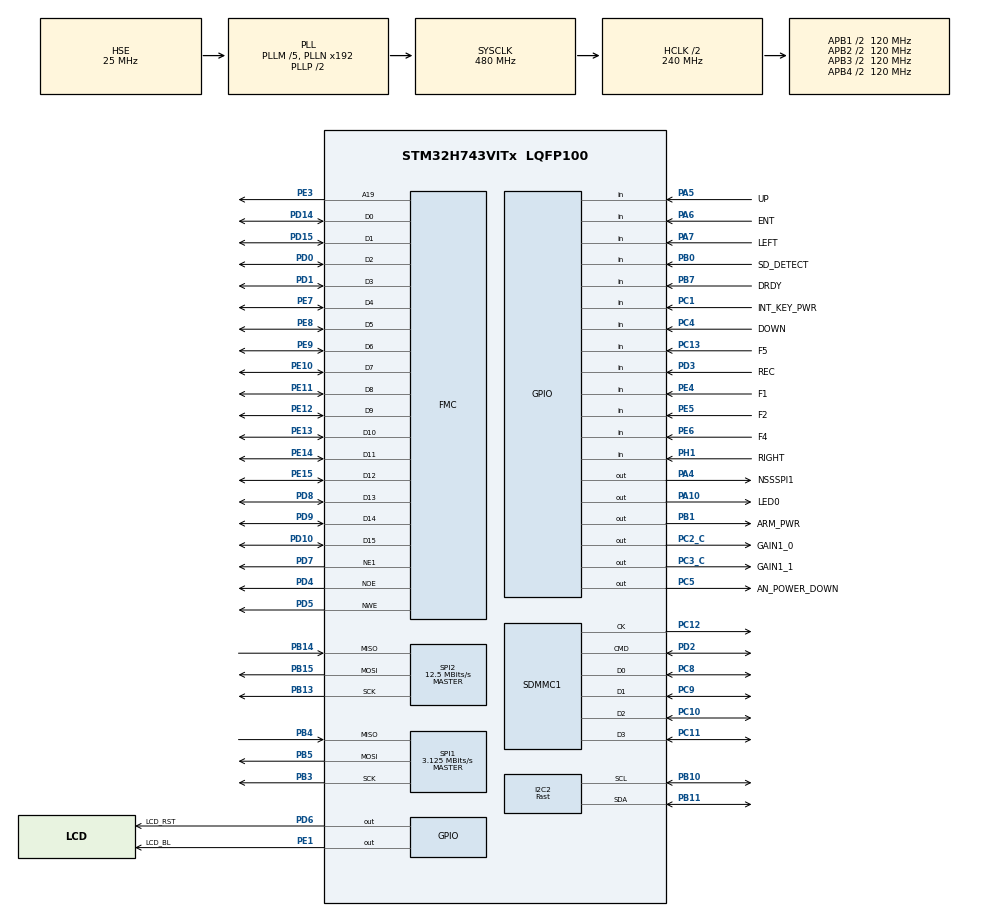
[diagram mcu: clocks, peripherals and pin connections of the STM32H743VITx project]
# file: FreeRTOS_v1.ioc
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CORTEX_M7.AccessPermission-Cortex_Memory_Protection_Unit_Region1_Settings=MPU_REGION_FULL_ACCESS
CORTEX_M7.AccessPermission-Cortex_Memory_Protection_Unit_Region2_Settings=MPU_REGION_FULL_ACCESS
CORTEX_M7.AccessPermission-Cortex_Memory_Protection_Unit_Region3_Settings=MPU_REGION_FULL_ACCESS
CORTEX_M7.AccessPermission-Cortex_Memory_Protection_Unit_Region4_Settings=MPU_REGION_FULL_ACCESS
CORTEX_M7.BaseAddress-Cortex_Memory_Protection_Unit_Region1_Settings=0x60000000
CORTEX_M7.BaseAddress-Cortex_Memory_Protection_Unit_Region2_Settings=0x60100000
CORTEX_M7.BaseAddress-Cortex_Memory_Protection_Unit_Region3_Settings=0x24000000
CORTEX_M7.BaseAddress-Cortex_Memory_Protection_Unit_Region4_Settings=0x38800000
CORTEX_M7.CPU_ICache=Enabled
CORTEX_M7.DisableExec-Cortex_Memory_Protection_Unit_Region1_Settings=MPU_INSTRUCTION_ACCESS_DISABLE
CORTEX_M7.DisableExec-Cortex_Memory_Protection_Unit_Region2_Settings=MPU_INSTRUCTION_ACCESS_DISABLE
CORTEX_M7.Enable-Cortex_Memory_Protection_Unit_Region0_Settings=__NULL
CORTEX_M7.Enable-Cortex_Memory_Protection_Unit_Region1_Settings=MPU_REGION_ENABLE
CORTEX_M7.Enable-Cortex_Memory_Protection_Unit_Region2_Settings=MPU_REGION_ENABLE
CORTEX_M7.Enable-Cortex_Memory_Protection_Unit_Region3_Settings=MPU_REGION_ENABLE
CORTEX_M7.Enable-Cortex_Memory_Protection_Unit_Region4_Settings=MPU_REGION_ENABLE
CORTEX_M7.IsShareable-Cortex_Memory_Protection_Unit_Region1_Settings=MPU_ACCESS_SHAREABLE
CORTEX_M7.IsShareable-Cortex_Memory_Protection_Unit_Region2_Settings=MPU_ACCESS_SHAREABLE
CORTEX_M7.MPU_Control=MPU_PRIVILEGED_DEFAULT
CORTEX_M7.Size-Cortex_Memory_Protection_Unit_Region3_Settings=MPU_REGION_SIZE_512KB
CORTEX_M7.Size-Cortex_Memory_Protection_Unit_Region4_Settings=MPU_REGION_SIZE_4KB
CORTEX_M7.TypeExtField-Cortex_Memory_Protection_Unit_Region3_Settings=MPU_TEX_LEVEL1
CORTEX_M7.TypeExtField-Cortex_Memory_Protection_Unit_Region4_Settings=MPU_TEX_LEVEL1
Dma.I2C2_RX.2.Direction=DMA_PERIPH_TO_MEMORY
Dma.I2C2_RX.2.EventEnable=DISABLE
Dma.I2C2_RX.2.FIFOMode=DMA_FIFOMODE_DISABLE
Dma.I2C2_RX.2.Instance=DMA1_Stream2
Dma.I2C2_RX.2.MemDataAlignment=DMA_MDATAALIGN_BYTE
Dma.I2C2_RX.2.MemInc=DMA_MINC_ENABLE
Dma.I2C2_RX.2.Mode=DMA_NORMAL
Dma.I2C2_RX.2.PeriphDataAlignment=DMA_PDATAALIGN_BYTE
Dma.I2C2_RX.2.PeriphInc=DMA_PINC_DISABLE
Dma.I2C2_RX.2.Polarity=HAL_DMAMUX_REQ_GEN_RISING
Dma.I2C2_RX.2.Priority=DMA_PRIORITY_LOW
Dma.I2C2_RX.2.RequestNumber=1
Dma.I2C2_RX.2.SignalID=NONE
Dma.I2C2_RX.2.SyncEnable=DISABLE
Dma.I2C2_RX.2.SyncPolarity=HAL_DMAMUX_SYNC_NO_EVENT
Dma.I2C2_RX.2.SyncRequestNumber=1
Dma.I2C2_RX.2.SyncSignalID=NONE
Dma.Request0=SPI2_TX
Dma.Request1=SPI2_RX
Dma.Request2=I2C2_RX
Dma.SPI2_RX.1.Direction=DMA_PERIPH_TO_MEMORY
Dma.SPI2_RX.1.EventEnable=ENABLE
Dma.SPI2_RX.1.FIFOMode=DMA_FIFOMODE_DISABLE
Dma.SPI2_RX.1.Instance=DMA1_Stream1
Dma.SPI2_RX.1.MemDataAlignment=DMA_MDATAALIGN_BYTE
Dma.SPI2_RX.1.MemInc=DMA_MINC_ENABLE
Dma.SPI2_RX.1.Mode=DMA_CIRCULAR
Dma.SPI2_RX.1.PeriphDataAlignment=DMA_PDATAALIGN_BYTE
Dma.SPI2_RX.1.PeriphInc=DMA_PINC_DISABLE
Dma.SPI2_RX.1.Polarity=HAL_DMAMUX_REQ_GEN_RISING
Dma.SPI2_RX.1.Priority=DMA_PRIORITY_HIGH
Dma.SPI2_RX.1.RequestNumber=1
Dma.SPI2_RX.1.SignalID=NONE
Dma.SPI2_RX.1.SyncEnable=ENABLE
Dma.SPI2_RX.1.SyncPolarity=HAL_DMAMUX_SYNC_FALLING
Dma.SPI2_RX.1.SyncRequestNumber=3
Dma.SPI2_RX.1.SyncSignalID=HAL_DMAMUX1_SYNC_LPTIM1_OUT
Dma.SPI2_TX.0.Direction=DMA_MEMORY_TO_PERIPH
Dma.SPI2_TX.0.EventEnable=ENABLE
Dma.SPI2_TX.0.FIFOMode=DMA_FIFOMODE_DISABLE
Dma.SPI2_TX.0.Instance=DMA1_Stream0
Dma.SPI2_TX.0.MemDataAlignment=DMA_MDATAALIGN_BYTE
Dma.SPI2_TX.0.MemInc=DMA_MINC_DISABLE
Dma.SPI2_TX.0.Mode=DMA_CIRCULAR
Dma.SPI2_TX.0.PeriphDataAlignment=DMA_PDATAALIGN_BYTE
Dma.SPI2_TX.0.PeriphInc=DMA_PINC_DISABLE
Dma.SPI2_TX.0.Polarity=HAL_DMAMUX_REQ_GEN_RISING
Dma.SPI2_TX.0.Priority=DMA_PRIORITY_MEDIUM
Dma.SPI2_TX.0.RequestNumber=1
Dma.SPI2_TX.0.SignalID=NONE
Dma.SPI2_TX.0.SyncEnable=ENABLE
Dma.SPI2_TX.0.SyncPolarity=HAL_DMAMUX_SYNC_FALLING
Dma.SPI2_TX.0.SyncRequestNumber=3
Dma.SPI2_TX.0.SyncSignalID=HAL_DMAMUX1_SYNC_LPTIM1_OUT
FATFS.BSP.number=1
FATFS._FS_LOCK=3
FATFS._MAX_LFN=32
FATFS._USE_LFN=2
FATFS0.BSP.STBoard=false
FATFS0.BSP.api=Unknown
FATFS0.BSP.instance=PB0
FATFS0.BSP.ip=GPIO
FATFS0.BSP.mode=Input
FATFS0.BSP.name=Detect_SDIO
FATFS0.BSP.solution=PB0
FMC.AddressSetupTime1=5
FMC.BusTurnAroundDuration1=5
FMC.DataSetupTime1=15
FREERTOS.BinarySemaphores01=fmc_write_notification_semaphore,Dynamic,NULL,Depleted;ad7124_notification_semaphore,Dynamic,NULL,Depleted;ads127l11_notification_semaphore,Dynamic,NULL,Depleted;battery_i2c_read_notification_semaphore,Dynamic,NULL,Depleted
FREERTOS.Queues01=queue_pointer_event,10,win_pointer_event_t,0,Dynamic,NULL,NULL;ConnectionEvent,10,uint16_t,0,Dynamic,NULL,NULL
FREERTOS.Tasks01=defaultTask,24,128,StartDefaultTask,Default,NULL,Dynamic,NULL,NULL;Task_lcd,8,2048,StartTask02,As external,NULL,Dynamic,NULL,NULL;Task_key,24,128,StartTask03,As external,NULL,Dynamic,NULL,NULL;Task_dsp,48,2048,StartTask01,As external,NULL,Dynamic,NULL,NULL
FREERTOS.configCHECK_FOR_STACK_OVERFLOW=1
FREERTOS.configTOTAL_HEAP_SIZE=24576
FREERTOS.configUSE_NEWLIB_REENTRANT=1
I2C2.I2C_Fall_Time=20
I2C2.I2C_Rise_Time=50
I2C2.I2C_Speed_Mode=I2C_Fast
I2C2.OwnAddress=0x0
I2C2.Timing=0x0090216E
LPTIM1.ClockPrescaler=LPTIM_PRESCALER_DIV2
LPTIM1.UpdateMode=LPTIM_UPDATE_ENDOFPERIOD
Mcu.Family=STM32H7
Mcu.Name=STM32H743VITx
Mcu.Package=LQFP100
Mdma.MDMA_Channel0.Request0=SW
Mdma.MDMA_Channel0.RequestsNb=1
Mdma.MDMA_Channel0.SW.0.BlockCount=0
Mdma.MDMA_Channel0.SW.0.BlockDataLength=0
Mdma.MDMA_Channel0.SW.0.BufferTransferLength=128
Mdma.MDMA_Channel0.SW.0.CircularMode=MDMA_LINEAR_LIST
Mdma.MDMA_Channel0.SW.0.DataAlignment=MDMA_DATAALIGN_PACKENABLE
Mdma.MDMA_Channel0.SW.0.DestBlockAddressOffset=0
Mdma.MDMA_Channel0.SW.0.DestBurst=MDMA_DEST_BURST_SINGLE
Mdma.MDMA_Channel0.SW.0.DestDataSize=MDMA_DEST_DATASIZE_HALFWORD
Mdma.MDMA_Channel0.SW.0.DestinationInc=MDMA_DEST_INC_HALFWORD
Mdma.MDMA_Channel0.SW.0.DstAddress=0
Mdma.MDMA_Channel0.SW.0.Endianness=MDMA_LITTLE_ENDIANNESS_PRESERVE
Mdma.MDMA_Channel0.SW.0.Instance=MDMA_Channel0
Mdma.MDMA_Channel0.SW.0.MaskAddress=0
Mdma.MDMA_Channel0.SW.0.MaskData=0
Mdma.MDMA_Channel0.SW.0.Priority=MDMA_PRIORITY_LOW
Mdma.MDMA_Channel0.SW.0.Rank=First
Mdma.MDMA_Channel0.SW.0.SourceBlockAddressOffset=0
Mdma.MDMA_Channel0.SW.0.SourceBurst=MDMA_SOURCE_BURST_SINGLE
Mdma.MDMA_Channel0.SW.0.SourceDataSize=MDMA_SRC_DATASIZE_HALFWORD
Mdma.MDMA_Channel0.SW.0.SourceInc=MDMA_SRC_INC_HALFWORD
Mdma.MDMA_Channel0.SW.0.SrcAddress=0
Mdma.MDMA_Channel0.SW.0.TransferTriggerMode=MDMA_REPEAT_BLOCK_TRANSFER
Mdma.MDMA_Channel1.Request0=SW
Mdma.MDMA_Channel1.RequestsNb=1
Mdma.MDMA_Channel1.SW.0.BlockCount=0
Mdma.MDMA_Channel1.SW.0.BlockDataLength=0
Mdma.MDMA_Channel1.SW.0.BufferTransferLength=128
Mdma.MDMA_Channel1.SW.0.CircularMode=MDMA_LINEAR_LIST
Mdma.MDMA_Channel1.SW.0.DataAlignment=MDMA_DATAALIGN_PACKENABLE
Mdma.MDMA_Channel1.SW.0.DestBlockAddressOffset=0
Mdma.MDMA_Channel1.SW.0.DestBurst=MDMA_DEST_BURST_SINGLE
Mdma.MDMA_Channel1.SW.0.DestDataSize=MDMA_DEST_DATASIZE_HALFWORD
Mdma.MDMA_Channel1.SW.0.DestinationInc=MDMA_DEST_INC_HALFWORD
Mdma.MDMA_Channel1.SW.0.DstAddress=0
Mdma.MDMA_Channel1.SW.0.Endianness=MDMA_LITTLE_ENDIANNESS_PRESERVE
Mdma.MDMA_Channel1.SW.0.Instance=MDMA_Channel1
Mdma.MDMA_Channel1.SW.0.MaskAddress=0
Mdma.MDMA_Channel1.SW.0.MaskData=0
Mdma.MDMA_Channel1.SW.0.Priority=MDMA_PRIORITY_LOW
Mdma.MDMA_Channel1.SW.0.Rank=First
Mdma.MDMA_Channel1.SW.0.SourceBlockAddressOffset=0
Mdma.MDMA_Channel1.SW.0.SourceBurst=MDMA_SOURCE_BURST_SINGLE
Mdma.MDMA_Channel1.SW.0.SourceDataSize=MDMA_SRC_DATASIZE_HALFWORD
Mdma.MDMA_Channel1.SW.0.SourceInc=MDMA_SRC_INC_DISABLE
Mdma.MDMA_Channel1.SW.0.SrcAddress=0
Mdma.MDMA_Channel1.SW.0.TransferTriggerMode=MDMA_REPEAT_BLOCK_TRANSFER
Mdma.RequestSet0=MDMA_Channel0
Mdma.RequestSet1=MDMA_Channel1
Mdma.RequestSetsNb=2
NVIC.DMA1_Stream0_IRQn=true\:8\:0\:true\:false\:true\:true\:false\:true\:true
NVIC.DMA1_Stream1_IRQn=true\:5\:0\:false\:false\:true\:true\:false\:true\:true
NVIC.DMA1_Stream2_IRQn=true\:9\:0\:true\:false\:true\:true\:false\:true\:true
NVIC.DMAMUX1_OVR_IRQn=true\:8\:0\:true\:false\:true\:false\:false\:true\:true
NVIC.I2C2_ER_IRQn=true\:10\:0\:true\:false\:true\:true\:true\:true\:true
NVIC.I2C2_EV_IRQn=true\:9\:0\:true\:false\:true\:true\:true\:true\:true
NVIC.MDMA_IRQn=true\:7\:0\:true\:false\:true\:true\:false\:true\:true
NVIC.PriorityGroup=NVIC_PRIORITYGROUP_4
NVIC.SDMMC1_IRQn=true\:14\:0\:true\:false\:true\:true\:true\:true\:true
NVIC.SPI2_IRQn=true\:5\:0\:false\:false\:true\:true\:false\:true\:true
NVIC.TIM6_DAC_IRQn=true\:15\:0\:false\:false\:true\:false\:false\:true\:true
NVIC.TimeBase=TIM6_DAC_IRQn
NVIC.TimeBaseIP=TIM6
PA10.GPIO_Label=LED0
PA10.PinState=GPIO_PIN_SET
PA10.Signal=GPIO_Output
PA13\ (JTMS/SWDIO).Mode=Serial_Wire
PA13\ (JTMS/SWDIO).Signal=DEBUG_JTMS-SWDIO
PA14\ (JTCK/SWCLK).Mode=Serial_Wire
PA14\ (JTCK/SWCLK).Signal=DEBUG_JTCK-SWCLK
PA4.GPIO_Label=NSSSPI1
PA4.PinState=GPIO_PIN_SET
PA4.Signal=GPIO_Output
PA5.GPIO_Label=UP
PA5.GPIO_PuPd=GPIO_PULLUP
PA5.Signal=GPIO_Input
PA6.GPIO_Label=ENT
PA6.GPIO_PuPd=GPIO_PULLUP
PA6.Signal=GPIO_Input
PA7.GPIO_Label=LEFT
PA7.GPIO_PuPd=GPIO_PULLUP
PA7.Signal=GPIO_Input
PB0.GPIO_Label=SD_DETECT
PB0.Signal=GPIO_Input
PB1.GPIO_Label=ARM_PWR
PB1.Signal=GPIO_Output
PB10.GPIO_Pu=GPIO_PULLUP
PB10.GPIO_Speed=GPIO_SPEED_FREQ_HIGH
PB10.Mode=I2C
PB10.Signal=I2C2_SCL
PB11.GPIO_Pu=GPIO_PULLUP
PB11.GPIO_Speed=GPIO_SPEED_FREQ_HIGH
PB11.Mode=I2C
PB11.Signal=I2C2_SDA
PB13.GPIO_Speed=GPIO_SPEED_FREQ_HIGH
PB13.Mode=Full_Duplex_Master
PB13.Signal=SPI2_SCK
PB14.GPIO_Speed=GPIO_SPEED_FREQ_HIGH
PB14.Mode=Full_Duplex_Master
PB14.Signal=SPI2_MISO
PB15.GPIO_Speed=GPIO_SPEED_FREQ_HIGH
PB15.Mode=Full_Duplex_Master
PB15.Signal=SPI2_MOSI
PB3\ (JTDO/TRACESWO).GPIO_Speed=GPIO_SPEED_FREQ_MEDIUM
PB3\ (JTDO/TRACESWO).Mode=Full_Duplex_Master
PB3\ (JTDO/TRACESWO).Signal=SPI1_SCK
PB4\ (NJTRST).GPIO_Speed=GPIO_SPEED_FREQ_MEDIUM
PB4\ (NJTRST).Mode=Full_Duplex_Master
PB4\ (NJTRST).Signal=SPI1_MISO
PB5.GPIO_Speed=GPIO_SPEED_FREQ_MEDIUM
PB5.Mode=Full_Duplex_Master
PB5.Signal=SPI1_MOSI
PB7.GPIO_Label=DRDY
PB7.Signal=GPIO_Input
PC1.GPIO_Label=INT_KEY_PWR
PC1.Signal=GPIO_Input
PC10.Mode=SD_4_bits_Wide_bus
PC10.Signal=SDMMC1_D2
PC11.Mode=SD_4_bits_Wide_bus
PC11.Signal=SDMMC1_D3
PC12.Mode=SD_4_bits_Wide_bus
PC12.Signal=SDMMC1_CK
PC13.GPIO_Label=F5
PC13.GPIO_PuPd=GPIO_PULLUP
PC13.Signal=GPIO_Input
PC14-OSC32_IN\ (OSC32_IN).Mode=LSE-External-Oscillator
PC14-OSC32_IN\ (OSC32_IN).Signal=RCC_OSC32_IN
PC15-OSC32_OUT\ (OSC32_OUT).Mode=LSE-External-Oscillator
PC15-OSC32_OUT\ (OSC32_OUT).Signal=RCC_OSC32_OUT
PC2_C.GPIO_Label=GAIN1_0
PC2_C.Signal=GPIO_Output
PC3_C.GPIO_Label=GAIN1_1
PC3_C.Signal=GPIO_Output
PC4.GPIO_Label=DOWN
PC4.GPIO_PuPd=GPIO_PULLUP
PC4.Signal=GPIO_Input
PC5.GPIO_Label=AN_POWER_DOWN
PC5.Signal=GPIO_Output
PC8.Mode=SD_4_bits_Wide_bus
PC8.Signal=SDMMC1_D0
PC9.Mode=SD_4_bits_Wide_bus
PC9.Signal=SDMMC1_D1
PD0.Signal=FMC_D2_DA2
PD1.Signal=FMC_D3_DA3
PD10.Signal=FMC_D15_DA15
PD14.Signal=FMC_D0_DA0
PD15.Signal=FMC_D1_DA1
PD2.Mode=SD_4_bits_Wide_bus
PD2.Signal=SDMMC1_CMD
PD3.GPIO_Label=REC
PD3.GPIO_PuPd=GPIO_PULLUP
PD3.Signal=GPIO_Input
PD4.Signal=FMC_NOE
PD5.Signal=FMC_NWE
PD6.GPIO_Label=LCD_RST
PD6.GPIO_ModeDefaultOutputPP=GPIO_MODE_OUTPUT_OD
PD6.GPIO_PuPd=GPIO_PULLUP
PD6.PinState=GPIO_PIN_SET
PD6.Signal=GPIO_Output
PD7.Mode=NorPsramChipSelect1_1
PD7.Signal=FMC_NE1
PD8.Signal=FMC_D13_DA13
PD9.Signal=FMC_D14_DA14
PE1.GPIO_Label=LCD_BL
PE1.Signal=GPIO_Output
PE10.Signal=FMC_D7_DA7
PE11.Signal=FMC_D8_DA8
PE12.Signal=FMC_D9_DA9
PE13.Signal=FMC_D10_DA10
PE14.Signal=FMC_D11_DA11
PE15.Signal=FMC_D12_DA12
PE3.Signal=FMC_A19
PE4.GPIO_Label=F1
PE4.GPIO_PuPd=GPIO_PULLUP
PE4.Signal=GPIO_Input
PE5.GPIO_Label=F2
PE5.GPIO_PuPd=GPIO_PULLUP
PE5.Signal=GPIO_Input
PE6.GPIO_Label=F4
PE6.GPIO_PuPd=GPIO_PULLUP
PE6.Signal=GPIO_Input
PE7.Signal=FMC_D4_DA4
PE8.Signal=FMC_D5_DA5
PE9.Signal=FMC_D6_DA6
PH0-OSC_IN\ (PH0).Mode=HSE-External-Clock-Source
PH0-OSC_IN\ (PH0).Signal=RCC_OSC_IN
PH1-OSC_OUT\ (PH1).GPIO_Label=RIGHT
PH1-OSC_OUT\ (PH1).GPIO_PuPd=GPIO_PULLUP
PH1-OSC_OUT\ (PH1).Signal=GPIO_Input
ProjectManager.HeapSize=0x200
ProjectManager.StackSize=0x400
ProjectManager.TargetToolchain=STM32CubeIDE
RCC.ADCFreq_Value=100000000
RCC.APB1Freq_Value=120000000
RCC.APB2Freq_Value=120000000
RCC.APB3Freq_Value=120000000
RCC.APB4Freq_Value=120000000
RCC.CortexFreq_Value=480000000
RCC.D1PPRE=RCC_APB3_DIV2
RCC.D2PPRE1=RCC_APB1_DIV2
RCC.D2PPRE2=RCC_APB2_DIV2
RCC.D3PPRE=RCC_APB4_DIV2
RCC.DIVM1=5
RCC.DIVM2=16
RCC.DIVN1=192
RCC.DIVN2=128
RCC.DIVQ1=5
RCC.DIVR1=12
RCC.HCLKFreq_Value=240000000
RCC.HPRE=RCC_HCLK_DIV2
RCC.I2C123CLockSelection=RCC_I2C123CLKSOURCE_HSI
RCC.LPTIM1CLockSelection=RCC_LPTIM1CLKSOURCE_PLL2
RCC.PLLSourceVirtual=RCC_PLLSOURCE_HSE
RCC.RTCClockSelection=RCC_RTCCLKSOURCE_LSE
RCC.SPI123CLockSelection=RCC_SPI123CLKSOURCE_PLL2
RCC.SYSCLKFreq_VALUE=480000000
RCC.SYSCLKSource=RCC_SYSCLKSOURCE_PLLCLK
RCC.USBFreq_Value=192000000
SDMMC1.ClockDiv=5
SH.FMC_A19.0=FMC_A19,A19_1
SH.FMC_D0_DA0.0=FMC_D0,16b-d1
SH.FMC_D10_DA10.0=FMC_D10,16b-d1
SH.FMC_D11_DA11.0=FMC_D11,16b-d1
SH.FMC_D12_DA12.0=FMC_D12,16b-d1
SH.FMC_D13_DA13.0=FMC_D13,16b-d1
SH.FMC_D14_DA14.0=FMC_D14,16b-d1
SH.FMC_D15_DA15.0=FMC_D15,16b-d1
SH.FMC_D1_DA1.0=FMC_D1,16b-d1
SH.FMC_D2_DA2.0=FMC_D2,16b-d1
SH.FMC_D3_DA3.0=FMC_D3,16b-d1
SH.FMC_D4_DA4.0=FMC_D4,16b-d1
SH.FMC_D5_DA5.0=FMC_D5,16b-d1
SH.FMC_D6_DA6.0=FMC_D6,16b-d1
SH.FMC_D7_DA7.0=FMC_D7,16b-d1
SH.FMC_D8_DA8.0=FMC_D8,16b-d1
SH.FMC_D9_DA9.0=FMC_D9,16b-d1
SH.FMC_NOE.0=FMC_NOE,Lcd1
SH.FMC_NWE.0=FMC_NWE,Lcd1
SPI1.BaudRatePrescaler=SPI_BAUDRATEPRESCALER_32
SPI1.CLKPhase=SPI_PHASE_2EDGE
SPI1.CLKPolarity=SPI_POLARITY_HIGH
SPI1.CalculateBaudRate=3.125 MBits/s
SPI1.DataSize=SPI_DATASIZE_8BIT
SPI1.Direction=SPI_DIRECTION_2LINES
SPI1.MasterKeepIOState=SPI_MASTER_KEEP_IO_STATE_ENABLE
SPI1.Mode=SPI_MODE_MASTER
SPI1.VirtualType=VM_MASTER
SPI2.BaudRatePrescaler=SPI_BAUDRATEPRESCALER_8
SPI2.CLKPhase=SPI_PHASE_2EDGE
SPI2.CalculateBaudRate=12.5 MBits/s
SPI2.DataSize=SPI_DATASIZE_8BIT
SPI2.Direction=SPI_DIRECTION_2LINES
SPI2.MasterKeepIOState=SPI_MASTER_KEEP_IO_STATE_ENABLE
SPI2.Mode=SPI_MODE_MASTER
SPI2.VirtualType=VM_MASTER
VP_FATFS_VS_SDIO.Mode=SDIO
VP_FREERTOS_VS_CMSIS_V2.Mode=CMSIS_V2
VP_LPTIM1_VS_LPTIM_counterModeInternalClock.Mode=Counts__internal_clock_event_00
VP_MEMORYMAP_VS_MEMORYMAP.Mode=CurAppReg
VP_RTC_VS_RTC_Activate.Mode=RTC_Enabled
VP_SYS_VS_tim6.Mode=TIM6
board=custom

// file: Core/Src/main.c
/* USER CODE BEGIN Header */
/**
  ******************************************************************************
  * @file           : main.c
  * @brief          : Main program body
  ******************************************************************************
  * @attention
  *
  * Copyright (c) 2024 STMicroelectronics.
  * All rights reserved.
  *
  * This software is licensed under terms that can be found in the LICENSE file
  * in the root directory of this software component.
  * If no LICENSE file comes with this software, it is provided AS-IS.
  *
  ******************************************************************************
  */
/* USER CODE END Header */
#include "main.h"
#include "cmsis_os.h"
#include "fatfs.h"

/* USER CODE BEGIN Includes */
#include "stdio.h"
//#include "ILI9488.h"
#include "parameters.h"
#include <string.h>
//#include "ad7124.h"
//#include "ad7124_regs.h"
//#include "printf.h"
/* USER CODE END Includes */

/* USER CODE BEGIN PM */
#define COUNTOF(__BUFFER__)   (sizeof(__BUFFER__) / sizeof(*(__BUFFER__)))
/* USER CODE END PM */

I2C_HandleTypeDef hi2c2;
DMA_HandleTypeDef hdma_i2c2_rx;

LPTIM_HandleTypeDef hlptim1;

RTC_HandleTypeDef hrtc;

SD_HandleTypeDef hsd1;

SPI_HandleTypeDef hspi1;
SPI_HandleTypeDef hspi2;
DMA_HandleTypeDef hdma_spi2_tx;
DMA_HandleTypeDef hdma_spi2_rx;

MDMA_HandleTypeDef hmdma_mdma_channel0_sw_0;
MDMA_HandleTypeDef hmdma_mdma_channel1_sw_0;
SRAM_HandleTypeDef hsram1;

/* Definitions for defaultTask */
osThreadId_t defaultTaskHandle;
const osThreadAttr_t defaultTask_attributes = {
  .name = "defaultTask",
  .stack_size = 128 * 4,
  .priority = (osPriority_t) osPriorityNormal,
};
/* Definitions for Task_lcd */
osThreadId_t Task_lcdHandle;
const osThreadAttr_t Task_lcd_attributes = {
  .name = "Task_lcd",
  .stack_size = 2048 * 4,
  .priority = (osPriority_t) osPriorityLow,
};
/* Definitions for Task_key */
osThreadId_t Task_keyHandle;
const osThreadAttr_t Task_key_attributes = {
  .name = "Task_key",
  .stack_size = 128 * 4,
  .priority = (osPriority_t) osPriorityNormal,
};
/* Definitions for Task_dsp */
osThreadId_t Task_dspHandle;
const osThreadAttr_t Task_dsp_attributes = {
  .name = "Task_dsp",
  .stack_size = 2048 * 4,
  .priority = (osPriority_t) osPriorityRealtime,
};
/* Definitions for queue_pointer_event */
osMessageQueueId_t queue_pointer_eventHandle;
const osMessageQueueAttr_t queue_pointer_event_attributes = {
  .name = "queue_pointer_event"
};
/* Definitions for ConnectionEvent */
osMessageQueueId_t ConnectionEventHandle;
const osMessageQueueAttr_t ConnectionEvent_attributes = {
  .name = "ConnectionEvent"
};
/* Definitions for fmc_write_notification_semaphore */
osSemaphoreId_t fmc_write_notification_semaphoreHandle;
const osSemaphoreAttr_t fmc_write_notification_semaphore_attributes = {
  .name = "fmc_write_notification_semaphore"
};
/* Definitions for ad7124_notification_semaphore */
osSemaphoreId_t ad7124_notification_semaphoreHandle;
const osSemaphoreAttr_t ad7124_notification_semaphore_attributes = {
  .name = "ad7124_notification_semaphore"
};
/* Definitions for ads127l11_notification_semaphore */
osSemaphoreId_t ads127l11_notification_semaphoreHandle;
const osSemaphoreAttr_t ads127l11_notification_semaphore_attributes = {
  .name = "ads127l11_notification_semaphore"
};
/* Definitions for battery_i2c_read_notification_semaphore */
osSemaphoreId_t battery_i2c_read_notification_semaphoreHandle;
const osSemaphoreAttr_t battery_i2c_read_notification_semaphore_attributes = {
  .name = "battery_i2c_read_notification_semaphore"
};
/* USER CODE BEGIN PV */

extern void writetobackup( const void *data);
extern void readfrombackup(uint32_t wr_adress, uint8_t *readdata);

extern HAL_StatusTypeDef init_bq25883(void);
extern void bq2588x_update_status(bq2588x_t *bq);

uint8_t stk;
uint8_t text[16];
__IO uint32_t I2C_Rx_Complete_Flag = 0;

/* USER CODE END PV */

void SystemClock_Config(void);
void PeriphCommonClock_Config(void);
static void MPU_Config(void);
static void MX_GPIO_Init(void);
static void MX_MDMA_Init(void);
static void MX_DMA_Init(void);
static void MX_FMC_Init(void);
static void MX_SPI1_Init(void);
static void MX_SDMMC1_SD_Init(void);
static void MX_RTC_Init(void);
static void MX_SPI2_Init(void);
static void MX_LPTIM1_Init(void);
static void MX_I2C2_Init(void);
void StartDefaultTask(void *argument);
extern void StartTask02(void *argument);
extern void StartTask03(void *argument);
extern void StartTask01(void *argument);

/* USER CODE BEGIN PFP */
static void TransferCompleteMDMA(MDMA_HandleTypeDef *hmdma);

/* USER CODE END PFP */

// Version identifier for coefficient tracking
const char* const COEFFICIENT_VERSION = "FAST_FREQ_CORRECTION_OPTIMIZED";

// LCD refresh timer handle
osTimerId_t lcdRefreshTimerHandle;

// Timer callback function
void lcdRefreshTimerCallback(void *argument) {
    // 0 = EVS, 1 = BLS
    if (g_demo_parameters.nMeasMode == 0) {
        flag_lcd_update = 0;
    } else if (g_demo_parameters.nMeasMode == 1) {
        flag_lcd_update = 1;
    }
}

int main(void)
{

  /* USER CODE BEGIN 1 */
	 HAL_DMA_MuxSyncConfigTypeDef dmamux_syncParams;
  /* USER CODE END 1 */

  /* MPU Configuration--------------------------------------------------------*/
  MPU_Config();

  /* Enable the CPU Cache */

  /* Enable I-Cache---------------------------------------------------------*/
  SCB_EnableICache();

  /* MCU Configuration--------------------------------------------------------*/

  /* Reset of all peripherals, Initializes the Flash interface and the Systick. */
  HAL_Init();

  /* Configure the system clock */
  SystemClock_Config();

  /* Configure the peripherals common clocks */
  PeriphCommonClock_Config();

  /* USER CODE BEGIN SysInit */
  ///BSP_IO_Init(0, &init);
  //hmdma_mdma_channel0_sw_0.XferCpltCallback = TransferCompleteMDMA;
 // hmdma_mdma_channel0_sw_0.XferRepeatBlockCpltCallback = TransferCompleteMDMA;

//---------------------------------------

// --------------------------------------------------

  /* USER CODE END SysInit */

  /* Initialize all configured peripherals */
  MX_GPIO_Init();
  MX_MDMA_Init();
  MX_DMA_Init();
  MX_FMC_Init();
  MX_SPI1_Init();
  MX_SDMMC1_SD_Init();
  MX_FATFS_Init();
  MX_RTC_Init();
  MX_SPI2_Init();
  MX_LPTIM1_Init();
  MX_I2C2_Init();
  /* USER CODE BEGIN 2 */
  HAL_GPIO_WritePin(ARM_PWR_GPIO_Port, ARM_PWR_Pin, 1);
  //HAL_GPIO_WritePin(GPIOC, LTE_POWERKEY_Pin, 0);

//------------------------------------------------
  //HAL_GPIO_WritePin(LED0_GPIO_Port, LED0_Pin, 0);

__HAL_RCC_BKPRAM_CLK_ENABLE();
HAL_PWREx_EnableBkUpReg();
//HAL_PWR_EnableBkUpAccess();
//*readdata =  *((uint32_t*)0x38800000);

 memcpy((void *)&g_demo_parameters1, (void const *)0x38800000, sizeof(demo_param_t));
 if(strcmp(g_demo_parameters.vers_sf, g_demo_parameters1.vers_sf))
 {
	 memcpy((void *)0x38800000, (void *)&g_demo_parameters,sizeof(demo_param_t)); // FLASH
 }

 if(g_demo_parameters1.magic == DEMO_PARAMETERS_MAGIC)
 {
	 //HAL_GPIO_WritePin(LED0_GPIO_Port, LED0_Pin, 0);
	 memcpy((void *)&g_demo_parameters, (void const *)0x38800000, sizeof(demo_param_t));
 }
 if(g_demo_parameters.nMeasMode) g_demo_parameters.nMeasMode = 0;
// ----------------------------------------------

  HAL_GPIO_WritePin(GPIOC, AN_POWER_DOWN_Pin, 0);

  HAL_GPIO_WritePin(LED0_GPIO_Port, LED0_Pin, 1);

  HAL_MDMA_RegisterCallback(&hmdma_mdma_channel0_sw_0,HAL_MDMA_XFER_CPLT_CB_ID,TransferCompleteMDMA);
  HAL_MDMA_RegisterCallback(&hmdma_mdma_channel1_sw_0,HAL_MDMA_XFER_CPLT_CB_ID,TransferCompleteMDMA);
  //HAL_I2C_RegisterCallback(&hi2c2,HAL_MDMA_XFER_CPLT_CB_ID,HAL_I2C_MemRxCpltCallback);
  //HAL_MDMA_RegisterCallback(&hmdma_mdma_channel1_sw_0,HAL_MDMA_XFER_CPLT_CB_ID,TransferCompleteMDMA);

//  bq2588x_t bqv;

 if( init_bq25883() == 0) HAL_GPIO_WritePin(LED0_GPIO_Port, LED0_Pin, 0);

// bq2588x_update_status(&bqv);

  /* USER CODE END 2 */

  /* Init scheduler */
  osKernelInitialize();

  /* Create the semaphores(s) */
  /* creation of fmc_write_notification_semaphore */
  fmc_write_notification_semaphoreHandle = osSemaphoreNew(1, 0, &fmc_write_notification_semaphore_attributes);

  /* creation of ad7124_notification_semaphore */
  ad7124_notification_semaphoreHandle = osSemaphoreNew(1, 0, &ad7124_notification_semaphore_attributes);

  /* creation of ads127l11_notification_semaphore */
  ads127l11_notification_semaphoreHandle = osSemaphoreNew(1, 0, &ads127l11_notification_semaphore_attributes);

  /* creation of battery_i2c_read_notification_semaphore */
  battery_i2c_read_notification_semaphoreHandle = osSemaphoreNew(1, 0, &battery_i2c_read_notification_semaphore_attributes);

  /* Create the queue(s) */
  /* creation of queue_pointer_event */
  queue_pointer_eventHandle = osMessageQueueNew (10, sizeof(win_pointer_event_t), &queue_pointer_event_attributes);

  /* creation of ConnectionEvent */
  ConnectionEventHandle = osMessageQueueNew (10, sizeof(uint16_t), &ConnectionEvent_attributes);

  /* Create the thread(s) */
  /* creation of defaultTask */
  defaultTaskHandle = osThreadNew(StartDefaultTask, NULL, &defaultTask_attributes);

  /* creation of Task_lcd */
  Task_lcdHandle = osThreadNew(StartTask02, NULL, &Task_lcd_attributes);

  /* creation of Task_key */
  Task_keyHandle = osThreadNew(StartTask03, NULL, &Task_key_attributes);

  /* creation of Task_dsp */
  Task_dspHandle = osThreadNew(StartTask01, NULL, &Task_dsp_attributes);

  // Create and start LCD refresh timer (0.1s period)
  lcdRefreshTimerHandle = osTimerNew(lcdRefreshTimerCallback, osTimerPeriodic, NULL, NULL);
  osTimerStart(lcdRefreshTimerHandle, 100);

  /* Start scheduler */
  osKernelStart();

  /* We should never get here as control is now taken by the scheduler */

  /* Infinite loop */
  while (1)
  {

  }
}

void SystemClock_Config(void)
{
  RCC_OscInitTypeDef RCC_OscInitStruct = {0};
  RCC_ClkInitTypeDef RCC_ClkInitStruct = {0};

  /** Supply configuration update enable
  */
  HAL_PWREx_ConfigSupply(PWR_LDO_SUPPLY);

  /** Configure the main internal regulator output voltage
  */
  __HAL_PWR_VOLTAGESCALING_CONFIG(PWR_REGULATOR_VOLTAGE_SCALE1);

  while(!__HAL_PWR_GET_FLAG(PWR_FLAG_VOSRDY)) {}

  __HAL_RCC_SYSCFG_CLK_ENABLE();
  __HAL_PWR_VOLTAGESCALING_CONFIG(PWR_REGULATOR_VOLTAGE_SCALE0);

  while(!__HAL_PWR_GET_FLAG(PWR_FLAG_VOSRDY)) {}

  /** Configure LSE Drive Capability
  */
  HAL_PWR_EnableBkUpAccess();
  __HAL_RCC_LSEDRIVE_CONFIG(RCC_LSEDRIVE_LOW);

  /** Initializes the RCC Oscillators according to the specified parameters
  * in the RCC_OscInitTypeDef structure.
  */
  RCC_OscInitStruct.OscillatorType = RCC_OSCILLATORTYPE_HSI|RCC_OSCILLATORTYPE_HSE
                              |RCC_OSCILLATORTYPE_LSE;
  RCC_OscInitStruct.HSEState = RCC_HSE_BYPASS;
  RCC_OscInitStruct.LSEState = RCC_LSE_ON;
  RCC_OscInitStruct.HSIState = RCC_HSI_DIV1;
  RCC_OscInitStruct.HSICalibrationValue = RCC_HSICALIBRATION_DEFAULT;
  RCC_OscInitStruct.PLL.PLLState = RCC_PLL_ON;
  RCC_OscInitStruct.PLL.PLLSource = RCC_PLLSOURCE_HSE;
  RCC_OscInitStruct.PLL.PLLM = 5;
  RCC_OscInitStruct.PLL.PLLN = 192;
  RCC_OscInitStruct.PLL.PLLP = 2;
  RCC_OscInitStruct.PLL.PLLQ = 5;
  RCC_OscInitStruct.PLL.PLLR = 12;
  RCC_OscInitStruct.PLL.PLLRGE = RCC_PLL1VCIRANGE_2;
  RCC_OscInitStruct.PLL.PLLVCOSEL = RCC_PLL1VCOWIDE;
  RCC_OscInitStruct.PLL.PLLFRACN = 0;
  if (HAL_RCC_OscConfig(&RCC_OscInitStruct) != HAL_OK)
  {
    Error_Handler();
  }

  /** Initializes the CPU, AHB and APB buses clocks
  */
  RCC_ClkInitStruct.ClockType = RCC_CLOCKTYPE_HCLK|RCC_CLOCKTYPE_SYSCLK
                              |RCC_CLOCKTYPE_PCLK1|RCC_CLOCKTYPE_PCLK2
                              |RCC_CLOCKTYPE_D3PCLK1|RCC_CLOCKTYPE_D1PCLK1;
  RCC_ClkInitStruct.SYSCLKSource = RCC_SYSCLKSOURCE_PLLCLK;
  RCC_ClkInitStruct.SYSCLKDivider = RCC_SYSCLK_DIV1;
  RCC_ClkInitStruct.AHBCLKDivider = RCC_HCLK_DIV2;
  RCC_ClkInitStruct.APB3CLKDivider = RCC_APB3_DIV2;
  RCC_ClkInitStruct.APB1CLKDivider = RCC_APB1_DIV2;
  RCC_ClkInitStruct.APB2CLKDivider = RCC_APB2_DIV2;
  RCC_ClkInitStruct.APB4CLKDivider = RCC_APB4_DIV2;

  if (HAL_RCC_ClockConfig(&RCC_ClkInitStruct, FLASH_LATENCY_4) != HAL_OK)
  {
    Error_Handler();
  }
}

void PeriphCommonClock_Config(void)
{
  RCC_PeriphCLKInitTypeDef PeriphClkInitStruct = {0};

  /** Initializes the peripherals clock
  */
  PeriphClkInitStruct.PeriphClockSelection = RCC_PERIPHCLK_LPTIM1|RCC_PERIPHCLK_SPI2
                              |RCC_PERIPHCLK_SPI1;
  PeriphClkInitStruct.PLL2.PLL2M = 16;
  PeriphClkInitStruct.PLL2.PLL2N = 128;
  PeriphClkInitStruct.PLL2.PLL2P = 2;
  PeriphClkInitStruct.PLL2.PLL2Q = 2;
  PeriphClkInitStruct.PLL2.PLL2R = 2;
  PeriphClkInitStruct.PLL2.PLL2RGE = RCC_PLL2VCIRANGE_0;
  PeriphClkInitStruct.PLL2.PLL2VCOSEL = RCC_PLL2VCOWIDE;
  PeriphClkInitStruct.PLL2.PLL2FRACN = 0;
  PeriphClkInitStruct.Spi123ClockSelection = RCC_SPI123CLKSOURCE_PLL2;
  PeriphClkInitStruct.Lptim1ClockSelection = RCC_LPTIM1CLKSOURCE_PLL2;
  if (HAL_RCCEx_PeriphCLKConfig(&PeriphClkInitStruct) != HAL_OK)
  {
    Error_Handler();
  }
}

static void MX_I2C2_Init(void)
{

  hi2c2.Instance = I2C2;
  hi2c2.Init.Timing = 0x0090216E;
  hi2c2.Init.OwnAddress1 = 0;
  hi2c2.Init.AddressingMode = I2C_ADDRESSINGMODE_7BIT;
  hi2c2.Init.DualAddressMode = I2C_DUALADDRESS_DISABLE;
  hi2c2.Init.OwnAddress2 = 0;
  hi2c2.Init.OwnAddress2Masks = I2C_OA2_NOMASK;
  hi2c2.Init.GeneralCallMode = I2C_GENERALCALL_DISABLE;
  hi2c2.Init.NoStretchMode = I2C_NOSTRETCH_DISABLE;
  if (HAL_I2C_Init(&hi2c2) != HAL_OK)
  {
    Error_Handler();
  }

  /** Configure Analogue filter
  */
  if (HAL_I2CEx_ConfigAnalogFilter(&hi2c2, I2C_ANALOGFILTER_ENABLE) != HAL_OK)
  {
    Error_Handler();
  }

  /** Configure Digital filter
  */
  if (HAL_I2CEx_ConfigDigitalFilter(&hi2c2, 0) != HAL_OK)
  {
    Error_Handler();
  }

}

static void MX_LPTIM1_Init(void)
{

  hlptim1.Instance = LPTIM1;
  hlptim1.Init.Clock.Source = LPTIM_CLOCKSOURCE_APBCLOCK_LPOSC;
  hlptim1.Init.Clock.Prescaler = LPTIM_PRESCALER_DIV2;
  hlptim1.Init.Trigger.Source = LPTIM_TRIGSOURCE_SOFTWARE;
  hlptim1.Init.OutputPolarity = LPTIM_OUTPUTPOLARITY_HIGH;
  hlptim1.Init.UpdateMode = LPTIM_UPDATE_ENDOFPERIOD;
  hlptim1.Init.CounterSource = LPTIM_COUNTERSOURCE_INTERNAL;
  hlptim1.Init.Input1Source = LPTIM_INPUT1SOURCE_GPIO;
  hlptim1.Init.Input2Source = LPTIM_INPUT2SOURCE_GPIO;
  if (HAL_LPTIM_Init(&hlptim1) != HAL_OK)
  {
    Error_Handler();
  }

}

static void MX_RTC_Init(void)
{

  /** Initialize RTC Only
  */
  hrtc.Instance = RTC;
  hrtc.Init.HourFormat = RTC_HOURFORMAT_24;
  hrtc.Init.AsynchPrediv = 127;
  hrtc.Init.SynchPrediv = 255;
  hrtc.Init.OutPut = RTC_OUTPUT_DISABLE;
  hrtc.Init.OutPutPolarity = RTC_OUTPUT_POLARITY_HIGH;
  hrtc.Init.OutPutType = RTC_OUTPUT_TYPE_OPENDRAIN;
  hrtc.Init.OutPutRemap = RTC_OUTPUT_REMAP_NONE;
  if (HAL_RTC_Init(&hrtc) != HAL_OK)
  {
    Error_Handler();
  }
  /* USER CODE BEGIN RTC_Init 2 */
  if(HAL_RTCEx_BKUPRead(&hrtc, RTC_BKP_DR0) != 0x32F2){
	  RTC_DateTypeDef  sdatestructure;
	  RTC_TimeTypeDef  stimestructure;

	  /*##-1- Configure the Date #################################################*/
	  /* Set Date: Tuesday February 2nd 2017 */
	  sdatestructure.Year = 0x17;
	  sdatestructure.Month = RTC_MONTH_FEBRUARY;
	  sdatestructure.Date = 0x2;
	  sdatestructure.WeekDay = RTC_WEEKDAY_TUESDAY;

	  if(HAL_RTC_SetDate(&hrtc,&sdatestructure,RTC_FORMAT_BCD) != HAL_OK)
	  {
	    /* Initialization Error */
	    Error_Handler();
	  }

	  /*##-2- Configure the Time #################################################*/
	  /* Set Time: 02:20:00 */
	  stimestructure.Hours = 0x02;
	  stimestructure.Minutes = 0x20;
	  stimestructure.Seconds = 0x00;
	  stimestructure.TimeFormat = RTC_HOURFORMAT12_AM;
	  stimestructure.DayLightSaving = RTC_DAYLIGHTSAVING_NONE ;
	  stimestructure.StoreOperation = RTC_STOREOPERATION_RESET;

	  if(HAL_RTC_SetTime(&hrtc,&stimestructure,RTC_FORMAT_BCD) != HAL_OK)
	  {
	    /* Initialization Error */
	    Error_Handler();
	  }
	  HAL_RTCEx_BKUPWrite(&hrtc, RTC_BKP_DR0, 0x32F2);
	}
  /* USER CODE END RTC_Init 2 */

}

static void MX_SDMMC1_SD_Init(void)
{

  hsd1.Instance = SDMMC1;
  hsd1.Init.ClockEdge = SDMMC_CLOCK_EDGE_RISING;
  hsd1.Init.ClockPowerSave = SDMMC_CLOCK_POWER_SAVE_DISABLE;
  hsd1.Init.BusWide = SDMMC_BUS_WIDE_4B;
  hsd1.Init.HardwareFlowControl = SDMMC_HARDWARE_FLOW_CONTROL_DISABLE;
  hsd1.Init.ClockDiv = 5;

}

static void MX_SPI1_Init(void)
{

  /* SPI1 parameter configuration*/
  hspi1.Instance = SPI1;
  hspi1.Init.Mode = SPI_MODE_MASTER;
  hspi1.Init.Direction = SPI_DIRECTION_2LINES;
  hspi1.Init.DataSize = SPI_DATASIZE_8BIT;
  hspi1.Init.CLKPolarity = SPI_POLARITY_HIGH;
  hspi1.Init.CLKPhase = SPI_PHASE_2EDGE;
  hspi1.Init.NSS = SPI_NSS_SOFT;
  hspi1.Init.BaudRatePrescaler = SPI_BAUDRATEPRESCALER_32;
  hspi1.Init.FirstBit = SPI_FIRSTBIT_MSB;
  hspi1.Init.TIMode = SPI_TIMODE_DISABLE;
  hspi1.Init.CRCCalculation = SPI_CRCCALCULATION_DISABLE;
  hspi1.Init.CRCPolynomial = 0x0;
  hspi1.Init.NSSPMode = SPI_NSS_PULSE_ENABLE;
  hspi1.Init.NSSPolarity = SPI_NSS_POLARITY_LOW;
  hspi1.Init.FifoThreshold = SPI_FIFO_THRESHOLD_01DATA;
  hspi1.Init.TxCRCInitializationPattern = SPI_CRC_INITIALIZATION_ALL_ZERO_PATTERN;
  hspi1.Init.RxCRCInitializationPattern = SPI_CRC_INITIALIZATION_ALL_ZERO_PATTERN;
  hspi1.Init.MasterSSIdleness = SPI_MASTER_SS_IDLENESS_00CYCLE;
  hspi1.Init.MasterInterDataIdleness = SPI_MASTER_INTERDATA_IDLENESS_00CYCLE;
  hspi1.Init.MasterReceiverAutoSusp = SPI_MASTER_RX_AUTOSUSP_DISABLE;
  hspi1.Init.MasterKeepIOState = SPI_MASTER_KEEP_IO_STATE_ENABLE;
  hspi1.Init.IOSwap = SPI_IO_SWAP_DISABLE;
  if (HAL_SPI_Init(&hspi1) != HAL_OK)
  {
    Error_Handler();
  }

}

static void MX_SPI2_Init(void)
{

  /* SPI2 parameter configuration*/
  hspi2.Instance = SPI2;
  hspi2.Init.Mode = SPI_MODE_MASTER;
  hspi2.Init.Direction = SPI_DIRECTION_2LINES;
  hspi2.Init.DataSize = SPI_DATASIZE_8BIT;
  hspi2.Init.CLKPolarity = SPI_POLARITY_LOW;
  hspi2.Init.CLKPhase = SPI_PHASE_2EDGE;
  hspi2.Init.NSS = SPI_NSS_SOFT;
  hspi2.Init.BaudRatePrescaler = SPI_BAUDRATEPRESCALER_8;
  hspi2.Init.FirstBit = SPI_FIRSTBIT_MSB;
  hspi2.Init.TIMode = SPI_TIMODE_DISABLE;
  hspi2.Init.CRCCalculation = SPI_CRCCALCULATION_DISABLE;
  hspi2.Init.CRCPolynomial = 0x0;
  hspi2.Init.NSSPMode = SPI_NSS_PULSE_ENABLE;
  hspi2.Init.NSSPolarity = SPI_NSS_POLARITY_LOW;
  hspi2.Init.FifoThreshold = SPI_FIFO_THRESHOLD_01DATA;
  hspi2.Init.TxCRCInitializationPattern = SPI_CRC_INITIALIZATION_ALL_ZERO_PATTERN;
  hspi2.Init.RxCRCInitializationPattern = SPI_CRC_INITIALIZATION_ALL_ZERO_PATTERN;
  hspi2.Init.MasterSSIdleness = SPI_MASTER_SS_IDLENESS_00CYCLE;
  hspi2.Init.MasterInterDataIdleness = SPI_MASTER_INTERDATA_IDLENESS_00CYCLE;
  hspi2.Init.MasterReceiverAutoSusp = SPI_MASTER_RX_AUTOSUSP_DISABLE;
  hspi2.Init.MasterKeepIOState = SPI_MASTER_KEEP_IO_STATE_ENABLE;
  hspi2.Init.IOSwap = SPI_IO_SWAP_DISABLE;
  if (HAL_SPI_Init(&hspi2) != HAL_OK)
  {
    Error_Handler();
  }

}

static void MX_DMA_Init(void)
{

  /* DMA controller clock enable */
  __HAL_RCC_DMA1_CLK_ENABLE();

  /* DMA interrupt init */
  /* DMA1_Stream0_IRQn interrupt configuration */
  HAL_NVIC_SetPriority(DMA1_Stream0_IRQn, 8, 0);
  HAL_NVIC_EnableIRQ(DMA1_Stream0_IRQn);
  /* DMA1_Stream1_IRQn interrupt configuration */
  HAL_NVIC_SetPriority(DMA1_Stream1_IRQn, 5, 0);
  HAL_NVIC_EnableIRQ(DMA1_Stream1_IRQn);
  /* DMA1_Stream2_IRQn interrupt configuration */
  HAL_NVIC_SetPriority(DMA1_Stream2_IRQn, 9, 0);
  HAL_NVIC_EnableIRQ(DMA1_Stream2_IRQn);
  /* DMAMUX1_OVR_IRQn interrupt configuration */
  HAL_NVIC_SetPriority(DMAMUX1_OVR_IRQn, 8, 0);
  HAL_NVIC_EnableIRQ(DMAMUX1_OVR_IRQn);

}

/**
  * Enable MDMA controller clock
  * Configure MDMA for global transfers
  *   hmdma_mdma_channel0_sw_0
  *   hmdma_mdma_channel1_sw_0
  */
static void MX_MDMA_Init(void)
{

  /* MDMA controller clock enable */
  __HAL_RCC_MDMA_CLK_ENABLE();
  /* Local variables */

  /* Configure MDMA channel MDMA_Channel0 */
  /* Configure MDMA request hmdma_mdma_channel0_sw_0 on MDMA_Channel0 */
  hmdma_mdma_channel0_sw_0.Instance = MDMA_Channel0;
  hmdma_mdma_channel0_sw_0.Init.Request = MDMA_REQUEST_SW;
  hmdma_mdma_channel0_sw_0.Init.TransferTriggerMode = MDMA_REPEAT_BLOCK_TRANSFER;
  hmdma_mdma_channel0_sw_0.Init.Priority = MDMA_PRIORITY_LOW;
  hmdma_mdma_channel0_sw_0.Init.Endianness = MDMA_LITTLE_ENDIANNESS_PRESERVE;
  hmdma_mdma_channel0_sw_0.Init.SourceInc = MDMA_SRC_INC_HALFWORD;
  hmdma_mdma_channel0_sw_0.Init.DestinationInc = MDMA_DEST_INC_HALFWORD;
  hmdma_mdma_channel0_sw_0.Init.SourceDataSize = MDMA_SRC_DATASIZE_HALFWORD;
  hmdma_mdma_channel0_sw_0.Init.DestDataSize = MDMA_DEST_DATASIZE_HALFWORD;
  hmdma_mdma_channel0_sw_0.Init.DataAlignment = MDMA_DATAALIGN_PACKENABLE;
  hmdma_mdma_channel0_sw_0.Init.BufferTransferLength = 128;
  hmdma_mdma_channel0_sw_0.Init.SourceBurst = MDMA_SOURCE_BURST_SINGLE;
  hmdma_mdma_channel0_sw_0.Init.DestBurst = MDMA_DEST_BURST_SINGLE;
  hmdma_mdma_channel0_sw_0.Init.SourceBlockAddressOffset = 0;
  hmdma_mdma_channel0_sw_0.Init.DestBlockAddressOffset = 0;
  if (HAL_MDMA_Init(&hmdma_mdma_channel0_sw_0) != HAL_OK)
  {
    Error_Handler();
  }

  /* Configure MDMA channel MDMA_Channel1 */
  /* Configure MDMA request hmdma_mdma_channel1_sw_0 on MDMA_Channel1 */
  hmdma_mdma_channel1_sw_0.Instance = MDMA_Channel1;
  hmdma_mdma_channel1_sw_0.Init.Request = MDMA_REQUEST_SW;
  hmdma_mdma_channel1_sw_0.Init.TransferTriggerMode = MDMA_REPEAT_BLOCK_TRANSFER;
  hmdma_mdma_channel1_sw_0.Init.Priority = MDMA_PRIORITY_LOW;
  hmdma_mdma_channel1_sw_0.Init.Endianness = MDMA_LITTLE_ENDIANNESS_PRESERVE;
  hmdma_mdma_channel1_sw_0.Init.SourceInc = MDMA_SRC_INC_DISABLE;
  hmdma_mdma_channel1_sw_0.Init.DestinationInc = MDMA_DEST_INC_HALFWORD;
  hmdma_mdma_channel1_sw_0.Init.SourceDataSize = MDMA_SRC_DATASIZE_HALFWORD;
  hmdma_mdma_channel1_sw_0.Init.DestDataSize = MDMA_DEST_DATASIZE_HALFWORD;
  hmdma_mdma_channel1_sw_0.Init.DataAlignment = MDMA_DATAALIGN_PACKENABLE;
  hmdma_mdma_channel1_sw_0.Init.BufferTransferLength = 128;
  hmdma_mdma_channel1_sw_0.Init.SourceBurst = MDMA_SOURCE_BURST_SINGLE;
  hmdma_mdma_channel1_sw_0.Init.DestBurst = MDMA_DEST_BURST_SINGLE;
  hmdma_mdma_channel1_sw_0.Init.SourceBlockAddressOffset = 0;
  hmdma_mdma_channel1_sw_0.Init.DestBlockAddressOffset = 0;
  if (HAL_MDMA_Init(&hmdma_mdma_channel1_sw_0) != HAL_OK)
  {
    Error_Handler();
  }

  /* MDMA interrupt initialization */
  /* MDMA_IRQn interrupt configuration */
  HAL_NVIC_SetPriority(MDMA_IRQn, 7, 0);
  HAL_NVIC_EnableIRQ(MDMA_IRQn);

}

/* FMC initialization function */
static void MX_FMC_Init(void)
{

  FMC_NORSRAM_TimingTypeDef Timing = {0};

  /** Perform the SRAM1 memory initialization sequence
  */
  hsram1.Instance = FMC_NORSRAM_DEVICE;
  hsram1.Extended = FMC_NORSRAM_EXTENDED_DEVICE;
  /* hsram1.Init */
  hsram1.Init.NSBank = FMC_NORSRAM_BANK1;
  hsram1.Init.DataAddressMux = FMC_DATA_ADDRESS_MUX_DISABLE;
  hsram1.Init.MemoryType = FMC_MEMORY_TYPE_SRAM;
  hsram1.Init.MemoryDataWidth = FMC_NORSRAM_MEM_BUS_WIDTH_16;
  hsram1.Init.BurstAccessMode = FMC_BURST_ACCESS_MODE_DISABLE;
  hsram1.Init.WaitSignalPolarity = FMC_WAIT_SIGNAL_POLARITY_LOW;
  hsram1.Init.WaitSignalActive = FMC_WAIT_TIMING_BEFORE_WS;
  hsram1.Init.WriteOperation = FMC_WRITE_OPERATION_ENABLE;
  hsram1.Init.WaitSignal = FMC_WAIT_SIGNAL_DISABLE;
  hsram1.Init.ExtendedMode = FMC_EXTENDED_MODE_DISABLE;
  hsram1.Init.AsynchronousWait = FMC_ASYNCHRONOUS_WAIT_DISABLE;
  hsram1.Init.WriteBurst = FMC_WRITE_BURST_DISABLE;
  hsram1.Init.ContinuousClock = FMC_CONTINUOUS_CLOCK_SYNC_ONLY;
  hsram1.Init.WriteFifo = FMC_WRITE_FIFO_ENABLE;
  hsram1.Init.PageSize = FMC_PAGE_SIZE_NONE;
  /* Timing */
  Timing.AddressSetupTime = 5;
  Timing.AddressHoldTime = 15;
  Timing.DataSetupTime = 15;
  Timing.BusTurnAroundDuration = 5;
  Timing.CLKDivision = 16;
  Timing.DataLatency = 17;
  Timing.AccessMode = FMC_ACCESS_MODE_A;
  /* ExtTiming */

  if (HAL_SRAM_Init(&hsram1, &Timing, NULL) != HAL_OK)
  {
    Error_Handler( );
  }

}

static void MX_GPIO_Init(void)
{
  GPIO_InitTypeDef GPIO_InitStruct = {0};

  /* GPIO Ports Clock Enable */
  __HAL_RCC_GPIOE_CLK_ENABLE();
  __HAL_RCC_GPIOC_CLK_ENABLE();
  __HAL_RCC_GPIOH_CLK_ENABLE();
  __HAL_RCC_GPIOA_CLK_ENABLE();
  __HAL_RCC_GPIOB_CLK_ENABLE();
  __HAL_RCC_GPIOD_CLK_ENABLE();

  /*Configure GPIO pin Output Level */
  HAL_GPIO_WritePin(GPIOC, GAIN1_0_Pin|GAIN1_1_Pin|AN_POWER_DOWN_Pin, GPIO_PIN_RESET);

  /*Configure GPIO pin Output Level */
  HAL_GPIO_WritePin(GPIOA, NSSSPI1_Pin|LED0_Pin, GPIO_PIN_SET);

  /*Configure GPIO pin Output Level */
  HAL_GPIO_WritePin(ARM_PWR_GPIO_Port, ARM_PWR_Pin, GPIO_PIN_RESET);

  /*Configure GPIO pin Output Level */
  HAL_GPIO_WritePin(LCD_RST_GPIO_Port, LCD_RST_Pin, GPIO_PIN_SET);

  /*Configure GPIO pin Output Level */
  HAL_GPIO_WritePin(LCD_BL_GPIO_Port, LCD_BL_Pin, GPIO_PIN_RESET);

  /*Configure GPIO pins : F1_Pin F2_Pin F4_Pin */
  GPIO_InitStruct.Pin = F1_Pin|F2_Pin|F4_Pin;
  GPIO_InitStruct.Mode = GPIO_MODE_INPUT;
  GPIO_InitStruct.Pull = GPIO_PULLUP;
  HAL_GPIO_Init(GPIOE, &GPIO_InitStruct);

  /*Configure GPIO pins : F5_Pin DOWN_Pin */
  GPIO_InitStruct.Pin = F5_Pin|DOWN_Pin;
  GPIO_InitStruct.Mode = GPIO_MODE_INPUT;
  GPIO_InitStruct.Pull = GPIO_PULLUP;
  HAL_GPIO_Init(GPIOC, &GPIO_InitStruct);

  /*Configure GPIO pin : RIGHT_Pin */
  GPIO_InitStruct.Pin = RIGHT_Pin;
  GPIO_InitStruct.Mode = GPIO_MODE_INPUT;
  GPIO_InitStruct.Pull = GPIO_PULLUP;
  HAL_GPIO_Init(RIGHT_GPIO_Port, &GPIO_InitStruct);

  /*Configure GPIO pin : INT_KEY_PWR_Pin */
  GPIO_InitStruct.Pin = INT_KEY_PWR_Pin;
  GPIO_InitStruct.Mode = GPIO_MODE_INPUT;
  GPIO_InitStruct.Pull = GPIO_NOPULL;
  HAL_GPIO_Init(INT_KEY_PWR_GPIO_Port, &GPIO_InitStruct);

  /*Configure GPIO pins : GAIN1_0_Pin GAIN1_1_Pin AN_POWER_DOWN_Pin */
  GPIO_InitStruct.Pin = GAIN1_0_Pin|GAIN1_1_Pin|AN_POWER_DOWN_Pin;
  GPIO_InitStruct.Mode = GPIO_MODE_OUTPUT_PP;
  GPIO_InitStruct.Pull = GPIO_NOPULL;
  GPIO_InitStruct.Speed = GPIO_SPEED_FREQ_LOW;
  HAL_GPIO_Init(GPIOC, &GPIO_InitStruct);

  /*Configure GPIO pins : NSSSPI1_Pin LED0_Pin */
  GPIO_InitStruct.Pin = NSSSPI1_Pin|LED0_Pin;
  GPIO_InitStruct.Mode = GPIO_MODE_OUTPUT_PP;
  GPIO_InitStruct.Pull = GPIO_NOPULL;
  GPIO_InitStruct.Speed = GPIO_SPEED_FREQ_LOW;
  HAL_GPIO_Init(GPIOA, &GPIO_InitStruct);

  /*Configure GPIO pins : UP_Pin ENT_Pin LEFT_Pin */
  GPIO_InitStruct.Pin = UP_Pin|ENT_Pin|LEFT_Pin;
  GPIO_InitStruct.Mode = GPIO_MODE_INPUT;
  GPIO_InitStruct.Pull = GPIO_PULLUP;
  HAL_GPIO_Init(GPIOA, &GPIO_InitStruct);

  /*Configure GPIO pins : SD_DETECT_Pin DRDY_Pin */
  GPIO_InitStruct.Pin = SD_DETECT_Pin|DRDY_Pin;
  GPIO_InitStruct.Mode = GPIO_MODE_INPUT;
  GPIO_InitStruct.Pull = GPIO_NOPULL;
  HAL_GPIO_Init(GPIOB, &GPIO_InitStruct);

  /*Configure GPIO pin : ARM_PWR_Pin */
  GPIO_InitStruct.Pin = ARM_PWR_Pin;
  GPIO_InitStruct.Mode = GPIO_MODE_OUTPUT_PP;
  GPIO_InitStruct.Pull = GPIO_NOPULL;
  GPIO_InitStruct.Speed = GPIO_SPEED_FREQ_LOW;
  HAL_GPIO_Init(ARM_PWR_GPIO_Port, &GPIO_InitStruct);

  /*Configure GPIO pin : REC_Pin */
  GPIO_InitStruct.Pin = REC_Pin;
  GPIO_InitStruct.Mode = GPIO_MODE_INPUT;
  GPIO_InitStruct.Pull = GPIO_PULLUP;
  HAL_GPIO_Init(REC_GPIO_Port, &GPIO_InitStruct);

  /*Configure GPIO pin : LCD_RST_Pin */
  GPIO_InitStruct.Pin = LCD_RST_Pin;
  GPIO_InitStruct.Mode = GPIO_MODE_OUTPUT_OD;
  GPIO_InitStruct.Pull = GPIO_PULLUP;
  GPIO_InitStruct.Speed = GPIO_SPEED_FREQ_LOW;
  HAL_GPIO_Init(LCD_RST_GPIO_Port, &GPIO_InitStruct);

  /*Configure GPIO pin : LCD_BL_Pin */
  GPIO_InitStruct.Pin = LCD_BL_Pin;
  GPIO_InitStruct.Mode = GPIO_MODE_OUTPUT_PP;
  GPIO_InitStruct.Pull = GPIO_NOPULL;
  GPIO_InitStruct.Speed = GPIO_SPEED_FREQ_LOW;
  HAL_GPIO_Init(LCD_BL_GPIO_Port, &GPIO_InitStruct);

}

/* USER CODE BEGIN 4 */
void HAL_I2C_MemRxCpltCallback(I2C_HandleTypeDef *I2cHandle)
{
	if (battery_i2c_read_notification_semaphoreHandle != NULL) {
		osSemaphoreRelease(battery_i2c_read_notification_semaphoreHandle);
		//HAL_GPIO_TogglePin(GPIOB, V_TX_Pin);
		HAL_GPIO_TogglePin(LED0_GPIO_Port, LED0_Pin);
	}
  I2C_Rx_Complete_Flag = 1;
}

static void TransferCompleteMDMA(MDMA_HandleTypeDef *hmdma)
{
	if (fmc_write_notification_semaphoreHandle != NULL) {
		osSemaphoreRelease(fmc_write_notification_semaphoreHandle);
		//HAL_GPIO_TogglePin(GPIOB, V_TX_Pin);
	}
}

/**
  * @brief  Main routine for Mass Storage Class
  * @param  None
  * @retval None
  */
/*static void FS_FileOperations(void)
{
  FRESULT res;                                          // FatFs function common result code
  uint32_t byteswritten, bytesread;                     // File write/read counts
  uint8_t wtext[] = "This is STM32 working with FatFs uSD + FreeRTOS"; // File write buffer

  // Register the file system object to the FatFs module
  if(f_mount(&SDFatFS, (TCHAR const*)SDPath, 0) == FR_OK)
  {
    // check whether the FS has been already created
    if (isFsCreated == 0)
    {
      if(f_mkfs(SDPath, FM_ANY, 0, workBuffer, sizeof(workBuffer)) != FR_OK)
      {
        //BSP_LED_On(LED3);
        return;
      }
      isFsCreated = 1;
    }
    // Create and Open a new text file object with write access
    if(f_open(&MyFile, "STM32.TXT", FA_CREATE_ALWAYS | FA_WRITE) == FR_OK)
    {
      // Write data to the text file
      res = f_write(&MyFile, wtext, sizeof(wtext), (void *)&byteswritten);

      if((byteswritten > 0) && (res == FR_OK))
      {
        // Close the open text file
        f_close(&MyFile);

        // Open the text file object with read access
        if(f_open(&MyFile, "STM32.TXT", FA_READ) == FR_OK)
        {
          // Read data from the text file
          res = f_read(&MyFile, rtext, sizeof(rtext), (void *)&bytesread);

          if((bytesread > 0) && (res == FR_OK))
          {
            // Close the open text file
            f_close(&MyFile);

            // Compare read data with the expected data/
            if((bytesread == byteswritten))
            {
              // Success of the demo: no error occurrence
              //BSP_LED_On(LED1);
              return;
            }
          }
        }
      }
    }
  }
  // Error
  //BSP_LED_On(LED3);
}*/
/*
static void SD_Initialize(void)
{
  if (isInitialized == 0)
  {
    BSP_SD_Init();

    if(BSP_SD_IsDetected())
    {
      isInitialized = 1;
    }
  }
}
*/
/* USER CODE END 4 */

void StartDefaultTask(void *argument)
{
  /* USER CODE BEGIN 5 */
  /* Infinite loop */
//  for(;;)
//  {
	  //HAL_GPIO_TogglePin(LED0_GPIO_Port, LED0_Pin);
//    osDelay(1000);
//  }
	//uint16_t res = 0;
	//osStatus_t r_state;
	//uint8_t x=0;

	  /* Infinite Loop */
	  for( ;; )
	  {
		 // memcpy((void *)0x38800000, (void *)&g_demo_parameters,sizeof(demo_param_t));
		 // HAL_GPIO_WritePin(LED0_GPIO_Port, LED0_Pin, 0);
		 // osDelay(2000);

		 // memcpy((void *)&g_demo_parameters1, (void const *)0x38800000, sizeof(demo_param_t));
		  //if(g_demo_parameters1.magic == DEMO_PARAMETERS_MAGIC) HAL_GPIO_WritePin(LED0_GPIO_Port, LED0_Pin, 1);
		  osDelay(2000);

	  }
  /* USER CODE END 5 */
}

 /* MPU Configuration */

void MPU_Config(void)
{
  MPU_Region_InitTypeDef MPU_InitStruct = {0};

  /* Disables the MPU */
  HAL_MPU_Disable();

  /** Initializes and configures the Region and the memory to be protected
  */
  MPU_InitStruct.Enable = MPU_REGION_ENABLE;
  MPU_InitStruct.Number = MPU_REGION_NUMBER1;
  MPU_InitStruct.BaseAddress = 0x60000000;
  MPU_InitStruct.Size = MPU_REGION_SIZE_32B;
  MPU_InitStruct.SubRegionDisable = 0x0;
  MPU_InitStruct.TypeExtField = MPU_TEX_LEVEL0;
  MPU_InitStruct.AccessPermission = MPU_REGION_FULL_ACCESS;
  MPU_InitStruct.DisableExec = MPU_INSTRUCTION_ACCESS_DISABLE;
  MPU_InitStruct.IsShareable = MPU_ACCESS_SHAREABLE;
  MPU_InitStruct.IsCacheable = MPU_ACCESS_NOT_CACHEABLE;
  MPU_InitStruct.IsBufferable = MPU_ACCESS_NOT_BUFFERABLE;

  HAL_MPU_ConfigRegion(&MPU_InitStruct);

  /** Initializes and configures the Region and the memory to be protected
  */
  MPU_InitStruct.Number = MPU_REGION_NUMBER2;
  MPU_InitStruct.BaseAddress = 0x60100000;

  HAL_MPU_ConfigRegion(&MPU_InitStruct);

  /** Initializes and configures the Region and the memory to be protected
  */
  MPU_InitStruct.Number = MPU_REGION_NUMBER3;
  MPU_InitStruct.BaseAddress = 0x24000000;
  MPU_InitStruct.Size = MPU_REGION_SIZE_512KB;
  MPU_InitStruct.TypeExtField = MPU_TEX_LEVEL1;
  MPU_InitStruct.DisableExec = MPU_INSTRUCTION_ACCESS_ENABLE;
  MPU_InitStruct.IsShareable = MPU_ACCESS_NOT_SHAREABLE;

  HAL_MPU_ConfigRegion(&MPU_InitStruct);

  /** Initializes and configures the Region and the memory to be protected
  */
  MPU_InitStruct.Number = MPU_REGION_NUMBER4;
  MPU_InitStruct.BaseAddress = 0x38800000;
  MPU_InitStruct.Size = MPU_REGION_SIZE_4KB;

  HAL_MPU_ConfigRegion(&MPU_InitStruct);
  /* Enables the MPU */
  HAL_MPU_Enable(MPU_PRIVILEGED_DEFAULT);

}

void HAL_TIM_PeriodElapsedCallback(TIM_HandleTypeDef *htim)
{
  if (htim->Instance == TIM6) {
    HAL_IncTick();
  }
}

void Error_Handler(void)
{
  __disable_irq();
  while (1)
  {
  }
}
